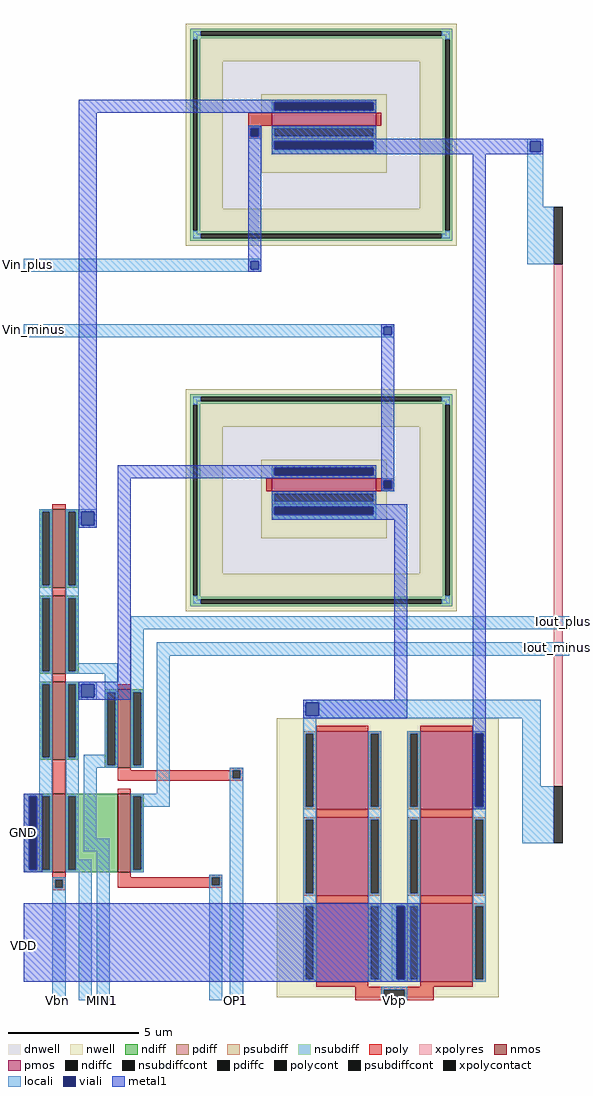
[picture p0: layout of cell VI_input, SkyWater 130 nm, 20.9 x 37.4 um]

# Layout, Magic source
magic
tech sky130A
magscale 1 2
<< dnwell >>
rect 960 4620 2880 6160
rect 960 1820 2880 3360
<< nwell >>
rect 880 5954 2960 6240
rect 880 4826 1166 5954
rect 1460 5100 2420 5700
rect 2674 4826 2960 5954
rect 880 4540 2960 4826
rect 880 3154 2960 3440
rect 880 2026 1166 3154
rect 1460 2300 2420 2900
rect 2674 2026 2960 3154
rect 880 1740 2960 2026
rect 1580 -1220 3280 920
<< nmos >>
rect -140 1920 -40 2520
rect -140 1260 -40 1860
rect -140 600 -40 1200
rect 360 540 460 1140
rect -140 -260 -40 340
rect 360 -260 460 340
<< pmos >>
rect 1540 5460 2340 5560
rect 1540 2660 2340 2760
rect 1880 220 2280 820
rect 2680 220 3080 820
rect 1880 -440 2280 160
rect 2680 -440 3080 160
rect 1880 -1100 2280 -500
rect 2680 -1100 3080 -500
<< ndiff >>
rect -240 2500 -140 2520
rect -240 1940 -220 2500
rect -160 1940 -140 2500
rect -240 1920 -140 1940
rect -40 2500 60 2520
rect -40 1940 -20 2500
rect 40 1940 60 2500
rect -40 1920 60 1940
rect -240 1840 -140 1860
rect -240 1280 -220 1840
rect -160 1280 -140 1840
rect -240 1260 -140 1280
rect -40 1840 60 1860
rect -40 1280 -20 1840
rect 40 1280 60 1840
rect -40 1260 60 1280
rect -240 1180 -140 1200
rect -240 620 -220 1180
rect -160 620 -140 1180
rect -240 600 -140 620
rect -40 1180 60 1200
rect -40 620 -20 1180
rect 40 620 60 1180
rect -40 600 60 620
rect 260 1120 360 1140
rect 260 560 280 1120
rect 340 560 360 1120
rect 260 540 360 560
rect 460 1120 560 1140
rect 460 560 480 1120
rect 540 560 560 1120
rect 460 540 560 560
rect -240 320 -140 340
rect -240 -240 -220 320
rect -160 -240 -140 320
rect -240 -260 -140 -240
rect -40 320 360 340
rect -40 -240 -20 320
rect 40 -240 360 320
rect -40 -260 360 -240
rect 460 320 560 340
rect 460 -240 480 320
rect 540 -240 560 320
rect 460 -260 560 -240
<< pdiff >>
rect 1540 5640 2340 5660
rect 1540 5580 1560 5640
rect 2320 5580 2340 5640
rect 1540 5560 2340 5580
rect 1540 5440 2340 5460
rect 1540 5380 1560 5440
rect 2320 5380 2340 5440
rect 1540 5360 2340 5380
rect 1540 2840 2340 2860
rect 1540 2780 1560 2840
rect 2320 2780 2340 2840
rect 1540 2760 2340 2780
rect 1540 2640 2340 2660
rect 1540 2580 1560 2640
rect 2320 2580 2340 2640
rect 1540 2560 2340 2580
rect 1780 800 1880 820
rect 1780 240 1800 800
rect 1860 240 1880 800
rect 1780 220 1880 240
rect 2280 800 2380 820
rect 2280 240 2300 800
rect 2360 240 2380 800
rect 2280 220 2380 240
rect 2580 800 2680 820
rect 2580 240 2600 800
rect 2660 240 2680 800
rect 2580 220 2680 240
rect 3080 800 3180 820
rect 3080 240 3100 800
rect 3160 240 3180 800
rect 3080 220 3180 240
rect 1780 140 1880 160
rect 1780 -420 1800 140
rect 1860 -420 1880 140
rect 1780 -440 1880 -420
rect 2280 140 2380 160
rect 2280 -420 2300 140
rect 2360 -420 2380 140
rect 2280 -440 2380 -420
rect 2580 140 2680 160
rect 2580 -420 2600 140
rect 2660 -420 2680 140
rect 2580 -440 2680 -420
rect 3080 140 3180 160
rect 3080 -420 3100 140
rect 3160 -420 3180 140
rect 3080 -440 3180 -420
rect 1780 -520 1880 -500
rect 1780 -1080 1800 -520
rect 1860 -1080 1880 -520
rect 1780 -1100 1880 -1080
rect 2280 -520 2380 -500
rect 2280 -1080 2300 -520
rect 2360 -1080 2380 -520
rect 2280 -1100 2380 -1080
rect 2580 -520 2680 -500
rect 2580 -1080 2600 -520
rect 2660 -1080 2680 -520
rect 2580 -1100 2680 -1080
rect 3080 -520 3180 -500
rect 3080 -1080 3100 -520
rect 3160 -1080 3180 -520
rect 3080 -1100 3180 -1080
<< ndiffc >>
rect -220 1940 -160 2500
rect -20 1940 40 2500
rect -220 1280 -160 1840
rect -20 1280 40 1840
rect -220 620 -160 1180
rect -20 620 40 1180
rect 280 560 340 1120
rect 480 560 540 1120
rect -220 -240 -160 320
rect -20 -240 40 320
rect 480 -240 540 320
<< pdiffc >>
rect 1560 5580 2320 5640
rect 1560 5380 2320 5440
rect 1560 2780 2320 2840
rect 1560 2580 2320 2640
rect 1800 240 1860 800
rect 2300 240 2360 800
rect 2600 240 2660 800
rect 3100 240 3160 800
rect 1800 -420 1860 140
rect 2300 -420 2360 140
rect 2600 -420 2660 140
rect 3100 -420 3160 140
rect 1800 -1080 1860 -520
rect 2300 -1080 2360 -520
rect 2600 -1080 2660 -520
rect 3100 -1080 3160 -520
<< psubdiff >>
rect -360 320 -240 340
rect -360 -240 -320 320
rect -260 -240 -240 320
rect -360 -260 -240 -240
<< nsubdiff >>
rect 917 6183 2923 6203
rect 917 6149 997 6183
rect 2843 6149 2923 6183
rect 917 6129 2923 6149
rect 917 6123 991 6129
rect 917 4657 937 6123
rect 971 4657 991 6123
rect 2849 6123 2923 6129
rect 1540 5340 2340 5360
rect 1540 5280 1560 5340
rect 2320 5280 2340 5340
rect 1540 5240 2340 5280
rect 917 4651 991 4657
rect 2849 4657 2869 6123
rect 2903 4657 2923 6123
rect 2849 4651 2923 4657
rect 917 4631 2923 4651
rect 917 4597 997 4631
rect 2843 4597 2923 4631
rect 917 4577 2923 4597
rect 917 3383 2923 3403
rect 917 3349 997 3383
rect 2843 3349 2923 3383
rect 917 3329 2923 3349
rect 917 3323 991 3329
rect 917 1857 937 3323
rect 971 1857 991 3323
rect 2849 3323 2923 3329
rect 1540 2540 2340 2560
rect 1540 2480 1560 2540
rect 2320 2480 2340 2540
rect 1540 2440 2340 2480
rect 917 1851 991 1857
rect 2849 1857 2869 3323
rect 2903 1857 2923 3323
rect 2849 1851 2923 1857
rect 917 1831 2923 1851
rect 917 1797 997 1831
rect 2843 1797 2923 1831
rect 917 1777 2923 1797
rect 2460 -520 2580 -500
rect 2460 -1080 2500 -520
rect 2560 -1080 2580 -520
rect 2460 -1100 2580 -1080
<< psubdiffcont >>
rect -320 -240 -260 320
<< nsubdiffcont >>
rect 997 6149 2843 6183
rect 937 4657 971 6123
rect 1560 5280 2320 5340
rect 2869 4657 2903 6123
rect 997 4597 2843 4631
rect 997 3349 2843 3383
rect 937 1857 971 3323
rect 1560 2480 2320 2540
rect 2869 1857 2903 3323
rect 997 1797 2843 1831
rect 2500 -1080 2560 -520
<< poly >>
rect 1360 5460 1540 5560
rect 2340 5460 2380 5560
rect 1360 5440 1460 5460
rect 1360 5380 1380 5440
rect 1440 5380 1460 5440
rect 1360 5360 1460 5380
rect -140 2520 -40 2560
rect -140 1860 -40 1920
rect 1500 2660 1540 2760
rect 2340 2740 2480 2760
rect 2340 2680 2400 2740
rect 2460 2680 2480 2740
rect 2340 2660 2480 2680
rect -140 1200 -40 1260
rect 360 1140 460 1180
rect -140 340 -40 600
rect 1880 820 2280 860
rect 2680 820 3080 860
rect 360 520 460 540
rect 1220 520 1320 540
rect 360 460 1240 520
rect 1300 460 1320 520
rect 360 440 1320 460
rect 360 340 460 380
rect 1880 160 2280 220
rect 2680 160 3080 220
rect -140 -320 -40 -260
rect -140 -380 -120 -320
rect -60 -380 -40 -320
rect 360 -300 460 -260
rect 1060 -300 1160 -280
rect 360 -360 1080 -300
rect 1140 -360 1160 -300
rect 360 -380 1160 -360
rect -140 -400 -40 -380
rect 1880 -500 2280 -440
rect 2680 -500 3080 -440
rect 1880 -1140 2280 -1100
rect 2680 -1140 3080 -1100
rect 2180 -1160 2780 -1140
rect 2180 -1220 2400 -1160
rect 2560 -1220 2780 -1160
rect 2180 -1240 2780 -1220
<< polycont >>
rect 1380 5380 1440 5440
rect 2400 2680 2460 2740
rect 1240 460 1300 520
rect -120 -380 -60 -320
rect 1080 -360 1140 -300
rect 2400 -1220 2560 -1160
<< xpolycontact >>
rect 3700 4400 3770 4840
rect 3700 -40 3770 400
<< xpolyres >>
rect 3700 400 3770 4400
<< locali >>
rect 937 6149 997 6183
rect 2843 6149 2903 6183
rect 937 6123 971 6149
rect 2869 6123 2903 6149
rect 1540 5640 2340 5660
rect 1540 5580 1560 5640
rect 2320 5580 2340 5640
rect 1540 5560 2340 5580
rect 1360 5440 1460 5460
rect 1360 5380 1380 5440
rect 1440 5380 1460 5440
rect 1360 5360 1460 5380
rect 1540 5440 2340 5460
rect 1540 5380 1560 5440
rect 2320 5380 2340 5440
rect 1540 5340 2340 5380
rect 1540 5280 1560 5340
rect 2320 5280 2340 5340
rect 1540 5240 2340 5280
rect 937 4631 971 4657
rect 2869 4631 2903 4657
rect 937 4597 997 4631
rect 2843 4597 2903 4631
rect 3500 5340 3620 5360
rect 3500 5260 3520 5340
rect 3600 5260 3620 5340
rect 3500 4840 3620 5260
rect -360 4420 1460 4440
rect -360 4360 1380 4420
rect 1440 4360 1460 4420
rect 3500 4400 3700 4840
rect -360 4340 1460 4360
rect -360 3920 2480 3940
rect -360 3860 2400 3920
rect 2460 3860 2480 3920
rect -360 3840 2480 3860
rect 937 3349 997 3383
rect 2843 3349 2903 3383
rect 937 3323 971 3349
rect -240 2500 -140 2520
rect -240 1940 -220 2500
rect -160 1940 -140 2500
rect -240 1840 -140 1940
rect -240 1280 -220 1840
rect -160 1280 -140 1840
rect -240 1180 -140 1280
rect -40 2500 200 2520
rect -40 1940 -20 2500
rect 40 2400 80 2500
rect 180 2400 200 2500
rect 40 2380 200 2400
rect 40 1940 60 2380
rect -40 1840 60 1940
rect -40 1280 -20 1840
rect 40 1340 60 1840
rect 2869 3323 2903 3349
rect 1540 2840 2340 2860
rect 1540 2780 1560 2840
rect 2320 2780 2340 2840
rect 1540 2760 2340 2780
rect 2380 2740 2480 2760
rect 2380 2680 2400 2740
rect 2460 2680 2480 2740
rect 2380 2660 2480 2680
rect 1540 2640 2340 2660
rect 1540 2580 1560 2640
rect 2320 2580 2340 2640
rect 1540 2540 2340 2580
rect 1540 2480 1560 2540
rect 2320 2480 2340 2540
rect 1540 2440 2340 2480
rect 937 1831 971 1857
rect 2869 1831 2903 1857
rect 937 1797 997 1831
rect 2843 1797 2903 1831
rect 460 1600 3820 1700
rect 40 1280 360 1340
rect -40 1260 360 1280
rect -240 620 -220 1180
rect -160 620 -140 1180
rect -240 340 -140 620
rect -360 320 -140 340
rect -360 -240 -320 320
rect -260 -240 -220 320
rect -160 -240 -140 320
rect -360 -260 -140 -240
rect -40 1180 200 1200
rect -40 620 -20 1180
rect 40 1080 80 1180
rect 180 1080 200 1180
rect 40 1060 200 1080
rect 260 1120 360 1260
rect 40 620 60 1060
rect 260 640 280 1120
rect -40 320 60 620
rect -40 -240 -20 320
rect 40 -160 60 320
rect 100 560 280 640
rect 340 560 360 1120
rect 100 540 360 560
rect 460 1120 560 1600
rect 460 560 480 1120
rect 540 560 560 1120
rect 460 540 560 560
rect 660 1400 3820 1500
rect 100 0 200 540
rect 660 340 760 1400
rect 1780 1040 3600 1060
rect 1780 940 1800 1040
rect 1900 940 3600 1040
rect 1780 920 3600 940
rect 1780 800 1880 920
rect 460 320 760 340
rect 100 -100 300 0
rect 40 -240 160 -160
rect -40 -260 160 -240
rect -140 -320 -40 -300
rect -140 -380 -120 -320
rect -60 -380 -40 -320
rect -140 -1240 -40 -380
rect 60 -1240 160 -260
rect 200 -1240 300 -100
rect 460 -240 480 320
rect 540 240 760 320
rect 1220 520 1320 540
rect 1220 460 1240 520
rect 1300 460 1320 520
rect 540 -240 560 240
rect 460 -260 560 -240
rect 1060 -300 1160 -280
rect 1060 -360 1080 -300
rect 1140 -360 1160 -300
rect 1060 -1240 1160 -360
rect 1220 -1240 1320 460
rect 1780 240 1800 800
rect 1860 240 1880 800
rect 1780 140 1880 240
rect 1780 -420 1800 140
rect 1860 -420 1880 140
rect 1780 -520 1880 -420
rect 1780 -1080 1800 -520
rect 1860 -1080 1880 -520
rect 1780 -1100 1880 -1080
rect 2280 800 2380 820
rect 2280 240 2300 800
rect 2360 240 2380 800
rect 2280 140 2380 240
rect 2280 -420 2300 140
rect 2360 -420 2380 140
rect 2280 -500 2380 -420
rect 2580 800 2680 820
rect 2580 240 2600 800
rect 2660 240 2680 800
rect 2580 140 2680 240
rect 2580 -420 2600 140
rect 2660 -420 2680 140
rect 2580 -500 2680 -420
rect 2280 -520 2680 -500
rect 2280 -1080 2300 -520
rect 2360 -1080 2500 -520
rect 2560 -1080 2600 -520
rect 2660 -1080 2680 -520
rect 2280 -1100 2680 -1080
rect 3080 800 3180 820
rect 3080 240 3100 800
rect 3160 240 3180 800
rect 3080 140 3180 240
rect 3080 -420 3100 140
rect 3160 -420 3180 140
rect 3460 400 3600 920
rect 3460 -40 3700 400
rect 3080 -520 3180 -420
rect 3080 -1080 3100 -520
rect 3160 -1080 3180 -520
rect 3080 -1100 3180 -1080
rect 2380 -1160 2580 -1140
rect 2380 -1220 2400 -1160
rect 2560 -1220 2580 -1160
rect 2380 -1240 2580 -1220
<< viali >>
rect 1560 5580 2320 5640
rect 1380 5380 1440 5440
rect 1560 5280 2320 5340
rect 3520 5260 3600 5340
rect 1380 4360 1440 4420
rect 2400 3860 2460 3920
rect 80 2400 180 2500
rect 1560 2780 2320 2840
rect 2400 2680 2460 2740
rect 1560 2480 2320 2540
rect -320 -240 -260 320
rect 80 1080 180 1180
rect 1800 940 1900 1040
rect 2500 -1080 2560 -520
rect 3100 240 3160 800
<< metal1 >>
rect 60 5640 2340 5660
rect 60 5580 1560 5640
rect 2320 5580 2340 5640
rect 60 5560 2340 5580
rect 60 2500 200 5560
rect 1360 5440 1460 5460
rect 1360 5380 1380 5440
rect 1440 5380 1460 5440
rect 1360 4420 1460 5380
rect 1540 5360 2340 5460
rect 1540 5340 3620 5360
rect 1540 5280 1560 5340
rect 2320 5280 3520 5340
rect 1540 5260 3520 5280
rect 3600 5260 3620 5340
rect 1540 5240 3620 5260
rect 1360 4360 1380 4420
rect 1440 4360 1460 4420
rect 1360 4340 1460 4360
rect 2380 3920 2480 3940
rect 2380 3860 2400 3920
rect 2460 3860 2480 3920
rect 60 2400 80 2500
rect 180 2400 200 2500
rect 60 2380 200 2400
rect 360 2840 2340 2860
rect 360 2780 1560 2840
rect 2320 2780 2340 2840
rect 360 2760 2340 2780
rect 360 1200 460 2760
rect 2380 2740 2480 3860
rect 2380 2680 2400 2740
rect 2460 2680 2480 2740
rect 2380 2660 2480 2680
rect 1540 2560 2340 2660
rect 1540 2540 2580 2560
rect 1540 2480 1560 2540
rect 2320 2480 2580 2540
rect 1540 2440 2580 2480
rect 60 1180 460 1200
rect 60 1080 80 1180
rect 180 1080 460 1180
rect 60 1060 460 1080
rect 2480 1060 2580 2440
rect 1780 1040 2580 1060
rect 1780 940 1800 1040
rect 1900 940 2580 1040
rect 1780 920 2580 940
rect 3080 800 3180 5240
rect -360 320 -220 340
rect -360 -240 -320 320
rect -260 -240 -220 320
rect 3080 240 3100 800
rect 3160 240 3180 800
rect 3080 220 3180 240
rect -360 -260 -220 -240
rect -360 -520 2680 -500
rect -360 -1080 2500 -520
rect 2560 -1080 2680 -520
rect -360 -1100 2680 -1080
<< labels >>
rlabel metal1 -360 40 -360 40 7 GND
port 0 w
rlabel metal1 -360 -820 -360 -820 7 VDD
port 1 w
rlabel locali -100 -1240 -100 -1240 5 Vbn
port 2 s
rlabel locali 2480 -1240 2480 -1240 5 Vbp
port 3 s
rlabel locali 1260 -1240 1260 -1240 5 OP1
port 4 s
rlabel locali 240 -1240 240 -1240 5 MIN1
port 5 s
rlabel locali 1100 -1240 1100 -1240 5 OP2
port 6 s
rlabel locali 100 -1240 100 -1240 5 MIN2
port 7 s
rlabel locali 3820 1460 3820 1460 3 Iout_minus
port 8 e
rlabel locali 3820 1660 3820 1660 3 Iout_plus
port 9 e
rlabel locali -360 3900 -360 3900 7 Vin_minus
port 10 w
rlabel locali -360 4400 -360 4400 7 Vin_plus
port 11 w
<< properties >>
string MASKHINTS_URPM 3540 -150 3940 5000
<< end >>
